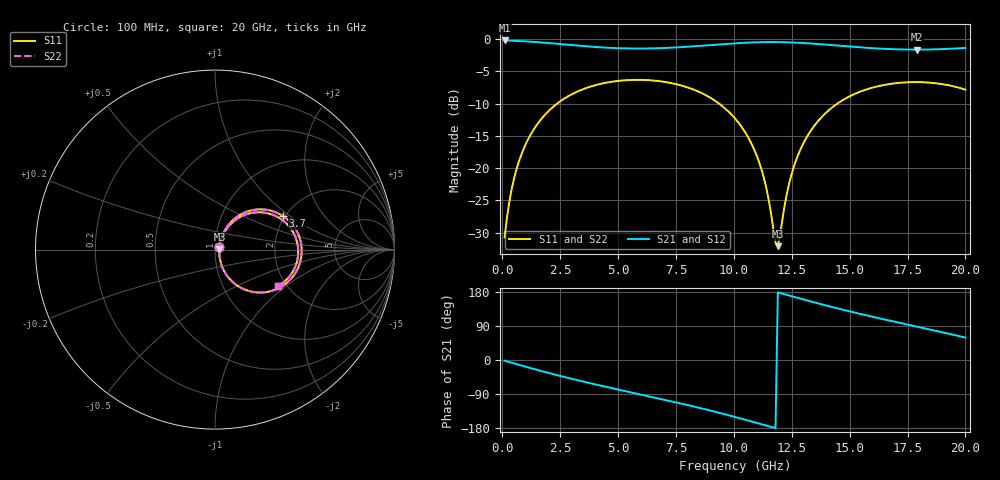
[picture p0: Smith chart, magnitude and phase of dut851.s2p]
! Touchstone file exported from HFSS 2026.1.0
!  File:  C:/ffzhzh/LocalFiles/Ansys_Project_Files/temp_train_TSV_RDL_851_1783269462_30076.aedt
!  Generated:  12:57:02 AM Jul  6, 2026
!  Design:  TSV_RDL
!  Project:  temp_train_TSV_RDL_851_1783269462_30076
! Variables:
!  h_bsmrdl = 2.21um
!  h_ox = 20um
!  h_rdl = 5um
!  h_sub = 93.27um
!  h_tmrdl = 4.4um
!  h_tsv = 93.27um
!  h_via = 3um
!  l_bsmrdl = 264.33um
!  l_sub = 5046.05um
!  l_tmrdl = 924.58um
!  m_sub = 200um
!  pitch = 47.18um
!  r_tsv = 3.26um
!  s_tmrdl = 10um
!  w_bsmrdl = 25.38um
!  w_sub = 500um
!  w_tmrdl = 26.2um
!  x_tsv_center1 = 937.68um
!  x_tsv_center2 = 1227.39um
!  x_tsv_center3 = 2178.17um
!  x_tsv_center4 = 2467.88um
!  x_tsv_center5 = 3418.66um
!  x_tsv_center6 = 3708.37um
# GHz S MA R 50.000000
! Terminal data exported
! Port[1] = TM_RDL1_1_T1
! Port[2] = TM_RDL5_1_T1
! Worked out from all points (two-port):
!   200 points, 100 MHz to 20 GHz, reference 50 ohm
!   highest |S21| = -0.21 dB at 100 MHz (marker M1); lowest = -1.6 dB at 17.9 GHz (marker M2)
!   |S21| within 3 dB of the highest: start of sweep to end of sweep
!   lowest |S11| = -32.1 dB at 11.9 GHz (marker M3), VSWR 1.05, Z = 52.5 + j0.268 ohm
!   |S11| at or under -10 dB: start of sweep to 2.37 GHz; 9.361 GHz to 14.47 GHz (5.11 GHz wide, 42.9 % of centre)
!   |S22| runs from -32.1 to -6.3 dB; largest |S21 - S12| = 1.7e-14
!   S11 on the Smith chart (normalised r, x): 100 MHz: 1.05, +0.03; 3.7 GHz: 1.95, +0.89; 20 GHz: 1.81, -0.88
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0.1  0.02905 33.4  0.9761 -1.9  0.9761 -1.9  0.02905 33.4
! Gamma 0 0 0 0
! Port Impedance 50 0 50 0
0.3  0.05432 56.3  0.9732 -5.4  0.9732 -5.4  0.05433 56.3
0.5  0.08193 61.9  0.9702 -8.9  0.9702 -8.9  0.08193 61.9
1.2  0.1785 59.9  0.9558 -20.9  0.9558 -20.9  0.1785 59.9
2.2  0.2988 47.1  0.925 -37.4  0.925 -37.4  0.2988 47.1
3.5  0.4096 29.1  0.8823 -57.0  0.8823 -57.0  0.4096 29.1
3.7  0.422 26.3  0.8766 -59.9  0.8766 -59.9  0.422 26.3
5.3  0.4794 5.4  0.8475 -81.9  0.8475 -81.9  0.4794 5.4
6.8  0.4715 -13.8  0.8506 -102.0  0.8506 -102.0  0.4715 -13.8
8.5  0.3896 -36.3  0.8854 -126.1  0.8854 -126.1  0.3896 -36.3
10.1  0.2367 -58.2  0.9289 -151.1  0.9289 -151.1  0.2366 -58.2
11.1  0.11 -67.5  0.9461 -167.8  0.9461 -167.8  0.11 -67.5
11.5  0.05742 -61.8  0.9486 -174.7  0.9486 -174.7  0.05739 -61.8
11.8  0.02639 -24.1  0.9485 -179.8  0.9485 -179.8  0.02639 -24.0
11.9  0.0248 5.9  0.9482 178.5  0.9482 178.5  0.02482 6.0
12.2  0.05208 53.4  0.9459 173.3  0.9459 173.3  0.05212 53.4
12.5  0.09054 60.8  0.9421 168.2  0.9421 168.2  0.09059 60.7
13.4  0.2041 55.0  0.9229 153.2  0.9229 153.2  0.2041 55.0
14.8  0.3445 36.7  0.8815 131.3  0.8815 131.3  0.3445 36.7
16.7  0.4477 11.8  0.8375 104.3  0.8375 104.3  0.4478 11.8
17.9  0.4641 -3.3  0.8291 88.1  0.8291 88.1  0.4641 -3.3
20  0.4056 -30.0  0.8543 59.2  0.8543 59.2  0.4056 -30.0
